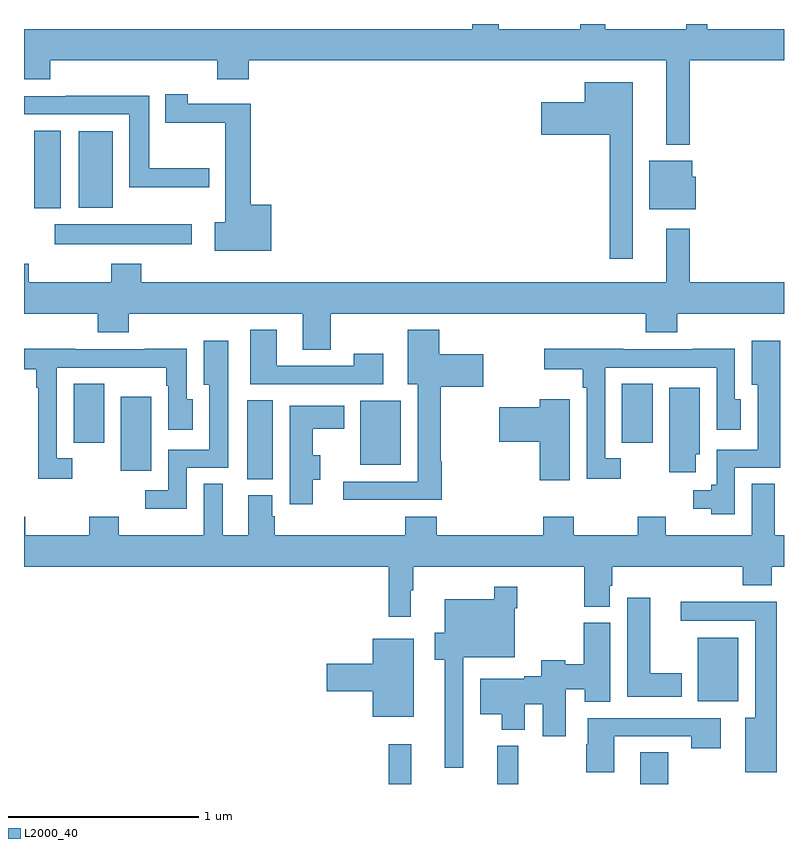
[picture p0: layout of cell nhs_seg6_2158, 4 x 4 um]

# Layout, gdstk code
import gdstk
lib = gdstk.Library(unit=1e-6, precision=1e-09)
def R(c, l, rs):  # rectangles x0, y0, x1, y1
    for r in rs: c.add(gdstk.rectangle(r[:2], r[2:], *l))
def P(c, l, *ps):  # polygons
    for p in ps: c.add(gdstk.Polygon(p, *l))
L2000_40 = (2000, 40)

nhs_seg6_2158 = lib.new_cell('nhs_seg6_2158')
R(nhs_seg6_2158, L2000_40, [(240.919,971.5,241.037,971.71), (241.49,971.5,241.6,971.701), (242.243,971.5,242.391,971.666), (242.546,971.936,242.758,972.271), (240.176,973.105,240.31,973.52), (239.51,973.148,239.671,973.537), (240.77,973.181,240.982,973.516), (239.261,973.296,239.422,973.607), (242.147,973.296,242.308,973.607), (239.163,974.342,239.884,974.446), (239.054,974.531,239.194,974.939), (239.288,974.534,239.467,974.935)])
P(nhs_seg6_2158, L2000_40, [(242.503,975.308),(243,975.308),(243,975.472),(242.597,975.472),(242.597,975.5),(242.486,975.5),(242.486,975.472),(242.059,975.472),(242.059,975.5),(241.928,975.5),(241.928,975.472),(241.498,975.472),(241.498,975.5),(241.358,975.5),(241.358,975.472),(239,975.472),(239,975.209),(239.138,975.209),(239.138,975.308),(240.017,975.308),(240.017,975.209),(240.182,975.209),(240.182,975.308),(242.381,975.308),(242.381,974.864),(242.503,974.864)],
  [(242.203,975.193),(241.952,975.193),(241.952,975.088),(241.722,975.088),(241.722,974.918),(242.082,974.918),(242.082,974.265),(242.203,974.265)],
  [(240.301,974.548),(240.194,974.548),(240.194,975.079),(239.862,975.079),(239.862,975.13),(239.744,975.13),(239.744,974.98),(240.059,974.98),(240.059,974.456),(240.003,974.456),(240.003,974.306),(240.301,974.306)],
  [(239.974,974.742),(239.659,974.742),(239.659,975.122),(239.221,975.122),(239.221,975.12),(239,975.12),(239,975.024),(239.555,975.024),(239.555,974.642),(239.974,974.642)],
  [(242.536,974.697),(242.518,974.697),(242.518,974.779),(242.291,974.779),(242.291,974.525),(242.536,974.525)],
  [(240.615,973.976),(242.273,973.976),(242.273,973.877),(242.438,973.877),(242.438,973.976),(243,973.976),(243,974.14),(242.503,974.14),(242.503,974.422),(242.381,974.422),(242.381,974.14),(239.618,974.14),(239.618,974.239),(239.458,974.239),(239.458,974.14),(239.025,974.14),(239.025,974.239),(239,974.239),(239,973.976),(239.387,973.976),(239.387,973.877),(239.552,973.877),(239.552,973.976),(240.467,973.976),(240.467,973.786),(240.615,973.786)],
  [(241.199,973.199),(241.194,973.199),(241.194,973.592),(241.417,973.592),(241.417,973.762),(241.186,973.762),(241.186,973.891),(241.019,973.891),(241.019,973.604),(241.073,973.604),(241.073,973.092),(240.681,973.092),(240.681,972.995),(241.199,972.995)],
  [(240.892,973.765),(240.736,973.765),(240.736,973.701),(240.331,973.701),(240.331,973.891),(240.191,973.891),(240.191,973.605),(240.892,973.605)],
  [(239.856,973.164),(240.076,973.164),(240.076,973.834),(239.945,973.834),(239.945,973.601),(239.975,973.601),(239.975,973.26),(239.76,973.26),(239.76,973.047),(239.637,973.047),(239.637,972.95),(239.856,972.95)],
  [(242.742,973.164),(242.98,973.164),(242.98,973.834),(242.831,973.834),(242.831,973.601),(242.861,973.601),(242.861,973.26),(242.646,973.26),(242.646,973.074),(242.618,973.074),(242.618,973.047),(242.523,973.047),(242.523,972.95),(242.618,972.95),(242.618,972.92),(242.742,972.92)],
  [(239.254,973.215),(239.172,973.215),(239.172,973.692),(239.518,973.692),(239.518,973.691),(239.748,973.691),(239.748,973.595),(239.76,973.595),(239.76,973.365),(239.887,973.365),(239.887,973.524),(239.856,973.524),(239.856,973.79),(239.635,973.79),(239.635,973.788),(239.269,973.788),(239.269,973.79),(239,973.79),(239,973.682),(239.064,973.682),(239.064,973.586),(239.076,973.586),(239.076,973.107),(239.254,973.107)],
  [(242.14,973.215),(242.058,973.215),(242.058,973.692),(242.646,973.692),(242.646,973.365),(242.773,973.365),(242.773,973.524),(242.742,973.524),(242.742,973.79),(242.521,973.79),(242.521,973.788),(242.155,973.788),(242.155,973.79),(241.737,973.79),(241.737,973.682),(241.942,973.682),(241.942,973.586),(241.962,973.586),(241.962,973.107),(242.14,973.107)],
  [(242.536,973.236),(242.557,973.236),(242.557,973.585),(242.396,973.585),(242.396,973.14),(242.536,973.14)],
  [(241.873,973.525),(241.715,973.525),(241.715,973.484),(241.5,973.484),(241.5,973.301),(241.715,973.301),(241.715,973.098),(241.873,973.098)],
  [(240.52,973.102),(240.559,973.102),(240.559,973.231),(240.52,973.231),(240.52,973.37),(240.685,973.37),(240.685,973.492),(240.398,973.492),(240.398,972.972),(240.52,972.972)],
  [(241.036,972.521),(241.048,972.521),(241.048,972.644),(241.948,972.644),(241.948,972.433),(242.083,972.433),(242.083,972.543),(242.096,972.543),(242.096,972.644),(242.783,972.644),(242.783,972.545),(242.935,972.545),(242.935,972.644),(243,972.644),(243,972.808),(242.95,972.808),(242.95,973.079),(242.831,973.079),(242.831,972.808),(242.377,972.808),(242.377,972.907),(242.23,972.907),(242.23,972.808),(241.893,972.808),(241.893,972.907),(241.733,972.907),(241.733,972.808),(241.172,972.808),(241.172,972.907),(241.007,972.907),(241.007,972.808),(240.32,972.808),(240.32,972.909),(240.307,972.909),(240.307,973.02),(240.179,973.02),(240.179,972.808),(240.046,972.808),(240.046,973.079),(239.945,973.079),(239.945,972.808),(239.499,972.808),(239.499,972.907),(239.344,972.907),(239.344,972.808),(239.007,972.808),(239.007,972.907),(239,972.907),(239,972.644),(240.919,972.644),(240.919,972.381),(241.036,972.381)],
  [(241.311,972.167),(241.584,972.167),(241.584,972.425),(241.597,972.425),(241.597,972.538),(241.476,972.538),(241.476,972.472),(241.214,972.472),(241.214,972.297),(241.163,972.297),(241.163,972.155),(241.214,972.155),(241.214,971.586),(241.311,971.586)],
  [(242.461,972.082),(242.296,972.082),(242.296,972.481),(242.174,972.481),(242.174,971.96),(242.461,971.96)],
  [(242.962,972.458),(242.457,972.458),(242.457,972.36),(242.849,972.36),(242.849,971.848),(242.795,971.848),(242.795,971.562),(242.962,971.562)],
  [(241.852,971.999),(241.952,971.999),(241.952,971.932),(242.086,971.932),(242.086,972.348),(241.945,972.348),(241.945,972.129),(241.848,972.129),(241.848,972.152),(241.723,972.152),(241.723,972.068),(241.634,972.068),(241.634,972.055),(241.4,972.055),(241.4,971.867),(241.514,971.867),(241.514,971.786),(241.636,971.786),(241.636,971.92),(241.73,971.92),(241.73,971.751),(241.852,971.751)],
  [(241.051,972.265),(240.836,972.265),(240.836,972.134),(240.594,972.134),(240.594,971.987),(240.836,971.987),(240.836,971.855),(241.051,971.855)],
  [(242.107,971.751),(242.512,971.751),(242.512,971.688),(242.668,971.688),(242.668,971.847),(241.967,971.847),(241.967,971.709),(241.96,971.709),(241.96,971.562),(242.107,971.562)])

lib.write_gds('nhs_seg6_2158.gds')
